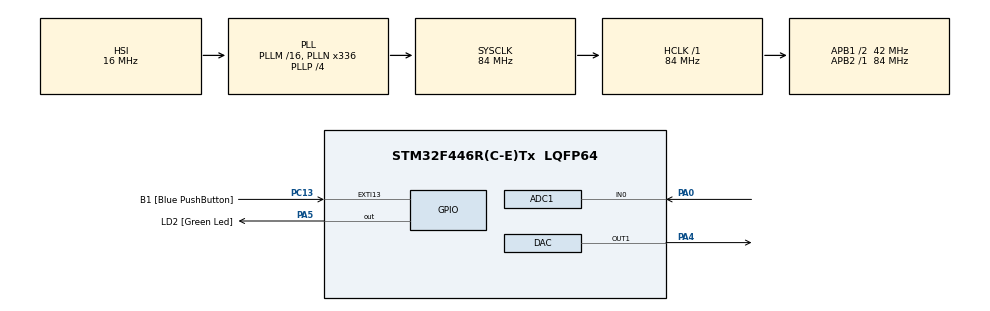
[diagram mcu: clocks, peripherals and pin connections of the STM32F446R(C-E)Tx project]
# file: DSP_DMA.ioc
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ADC1.Channel-0\#ChannelRegularConversion=ADC_CHANNEL_0
ADC1.DMAContinuousRequests=ENABLE
ADC1.ExternalTrigConv=ADC_EXTERNALTRIGCONV_T2_TRGO
ADC1.NbrOfConversion=1
ADC1.NbrOfConversionFlag=1
ADC1.Rank-0\#ChannelRegularConversion=1
ADC1.SamplingTime-0\#ChannelRegularConversion=ADC_SAMPLETIME_3CYCLES
ADC1.master=1
DAC.DAC_Trigger=DAC_TRIGGER_T2_TRGO
Dma.ADC1.0.Direction=DMA_PERIPH_TO_MEMORY
Dma.ADC1.0.FIFOMode=DMA_FIFOMODE_DISABLE
Dma.ADC1.0.Instance=DMA2_Stream0
Dma.ADC1.0.MemDataAlignment=DMA_MDATAALIGN_HALFWORD
Dma.ADC1.0.MemInc=DMA_MINC_ENABLE
Dma.ADC1.0.Mode=DMA_CIRCULAR
Dma.ADC1.0.PeriphDataAlignment=DMA_PDATAALIGN_HALFWORD
Dma.ADC1.0.PeriphInc=DMA_PINC_DISABLE
Dma.ADC1.0.Priority=DMA_PRIORITY_VERY_HIGH
Dma.DAC1.1.Direction=DMA_MEMORY_TO_PERIPH
Dma.DAC1.1.FIFOMode=DMA_FIFOMODE_DISABLE
Dma.DAC1.1.Instance=DMA1_Stream5
Dma.DAC1.1.MemDataAlignment=DMA_MDATAALIGN_WORD
Dma.DAC1.1.MemInc=DMA_MINC_ENABLE
Dma.DAC1.1.Mode=DMA_CIRCULAR
Dma.DAC1.1.PeriphDataAlignment=DMA_PDATAALIGN_WORD
Dma.DAC1.1.PeriphInc=DMA_PINC_DISABLE
Dma.DAC1.1.Priority=DMA_PRIORITY_VERY_HIGH
Dma.Request0=ADC1
Dma.Request1=DAC1
Mcu.Family=STM32F4
Mcu.Name=STM32F446R(C-E)Tx
Mcu.Package=LQFP64
NVIC.ADC_IRQn=true\:0\:0\:false\:false\:true\:true\:true\:true
NVIC.DMA1_Stream5_IRQn=true\:0\:0\:false\:false\:true\:false\:true\:true
NVIC.DMA2_Stream0_IRQn=true\:0\:0\:false\:false\:true\:false\:true\:true
NVIC.PriorityGroup=NVIC_PRIORITYGROUP_0
PA0-WKUP.Signal=ADCx_IN0
PA13.GPIO_Label=TMS
PA13.Signal=SYS_JTMS-SWDIO
PA14.GPIO_Label=TCK
PA14.Signal=SYS_JTCK-SWCLK
PA2.GPIO_Label=USART_TX
PA2.Signal=USART2_TX
PA3.GPIO_Label=USART_RX
PA3.Signal=USART2_RX
PA4.Signal=COMP_DAC1_group
PA5.GPIO_Label=LD2 [Green Led]
PA5.Signal=GPIO_Output
PB3.GPIO_Label=SWO
PB3.Signal=SYS_JTDO-SWO
PC13.GPIO_Label=B1 [Blue PushButton]
PC13.GPIO_ModeDefaultEXTI=GPIO_MODE_IT_FALLING
PC13.Signal=GPXTI13
PC14-OSC32_IN.Signal=RCC_OSC32_IN
PC15-OSC32_OUT.Signal=RCC_OSC32_OUT
PH0-OSC_IN.Signal=RCC_OSC_IN
PH1-OSC_OUT.Signal=RCC_OSC_OUT
ProjectManager.HeapSize=0x200
ProjectManager.StackSize=0x400
ProjectManager.TargetToolchain=STM32CubeIDE
RCC.AHBFreq_Value=84000000
RCC.APB1CLKDivider=RCC_HCLK_DIV2
RCC.APB1Freq_Value=42000000
RCC.APB1TimFreq_Value=84000000
RCC.APB2Freq_Value=84000000
RCC.APB2TimFreq_Value=84000000
RCC.CortexFreq_Value=84000000
RCC.FLatency-AdvancedSettings=FLASH_LATENCY_2
RCC.HCLKFreq_Value=84000000
RCC.HSE_VALUE=8000000
RCC.HSI_VALUE=16000000
RCC.LSE_VALUE=32768
RCC.PLLN=336
RCC.PLLP=RCC_PLLP_DIV4
RCC.SYSCLKFreq_VALUE=84000000
RCC.SYSCLKSource=RCC_SYSCLKSOURCE_PLLCLK
RCC.USBFreq_Value=168000000
RCC.VCOOutputFreq_Value=336000000
SH.ADCx_IN0.0=ADC1_IN0,IN0
SH.COMP_DAC1_group.0=DAC_OUT1,DAC_OUT1
TIM2.Period=1665
TIM2.Prescaler=0
TIM2.TIM_MasterOutputTrigger=TIM_TRGO_UPDATE
VP_TIM2_VS_ClockSourceINT.Mode=Internal
board=NUCLEO-F446RE

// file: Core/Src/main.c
/* USER CODE BEGIN Header */
/**
  ******************************************************************************
  * @file           : main.c
  * @brief          : Main program body
  ******************************************************************************
  * @attention
  *
  * Copyright (c) 2024 STMicroelectronics.
  * All rights reserved.
  *
  * This software is licensed under terms that can be found in the LICENSE file
  * in the root directory of this software component.
  * If no LICENSE file comes with this software, it is provided AS-IS.
  *
  ******************************************************************************
  */
/* USER CODE END Header */
#include "main.h"

/* USER CODE BEGIN Includes */
#include <stdbool.h>
/* USER CODE END Includes */

/* USER CODE BEGIN PD */
#define BUFFER_SIZE (512)
/* USER CODE END PD */

ADC_HandleTypeDef hadc1;
DMA_HandleTypeDef hdma_adc1;

DAC_HandleTypeDef hdac;
DMA_HandleTypeDef hdma_dac1;

TIM_HandleTypeDef htim2;

/* USER CODE BEGIN PV */
volatile uint16_t adc_buffer[BUFFER_SIZE];
volatile uint16_t adc_buffer_pointer = 0;

volatile uint32_t dac_buffer[BUFFER_SIZE];
volatile uint16_t dac_buffer_pointer = 0;

volatile bool data_ready = false;
/* USER CODE END PV */

void SystemClock_Config(void);
static void MX_GPIO_Init(void);
static void MX_DMA_Init(void);
static void MX_ADC1_Init(void);
static void MX_TIM2_Init(void);
static void MX_DAC_Init(void);

/* USER CODE BEGIN 0 */
void HAL_ADC_ConvHalfCpltCallback(ADC_HandleTypeDef *hadc) {
	adc_buffer_pointer = 0;
	dac_buffer_pointer = 0;
	data_ready = true;
}

void HAL_ADC_ConvCpltCallback(ADC_HandleTypeDef *hadc) {
	adc_buffer_pointer = BUFFER_SIZE / 2;
	dac_buffer_pointer = BUFFER_SIZE / 2;

	data_ready = true;
}

void apply_effect() {
	float input;
	float output;

	for (int idx_datapoint = 0; idx_datapoint < BUFFER_SIZE / 2; idx_datapoint++) {
		// convert adc data to float
		input = ((float) 2 / 4096) * adc_buffer[adc_buffer_pointer + idx_datapoint] - 1;

		// process adc data
		output = input / 2;
		output = input * 2;
		if (output > .2) {
			output = .2;
		} else if (output < -.2) {
			output = -.2;
		}

		// convert data back to unsigned int
		// set dac buffer to filtered adc data
		dac_buffer[dac_buffer_pointer + idx_datapoint] = (2048 * (output + 1));
	}

	data_ready = false;
}

/* USER CODE END 0 */

int main(void)
{

  /* MCU Configuration--------------------------------------------------------*/

  /* Reset of all peripherals, Initializes the Flash interface and the Systick. */
  HAL_Init();

  /* Configure the system clock */
  SystemClock_Config();

  /* Initialize all configured peripherals */
  MX_GPIO_Init();
  MX_DMA_Init();
  MX_ADC1_Init();
  MX_TIM2_Init();
  MX_DAC_Init();
  /* USER CODE BEGIN 2 */
  HAL_ADC_Start_DMA(&hadc1, (uint32_t *) adc_buffer, BUFFER_SIZE);
  HAL_DAC_Start_DMA(&hdac, DAC_CHANNEL_1, (uint32_t *) dac_buffer, BUFFER_SIZE, DAC_ALIGN_12B_R);
  //HAL_DAC_SetValue(&hdac, DAC_CHANNEL_1, DAC_ALIGN_12B_R, 1000);

  HAL_TIM_Base_Start(&htim2);
  /* USER CODE END 2 */

  /* Infinite loop */
  while (1)
  {

    /* USER CODE BEGIN 3 */
 	  if (data_ready) {
		  apply_effect();
	  }
  }
  /* USER CODE END 3 */
}

void SystemClock_Config(void)
{
  RCC_OscInitTypeDef RCC_OscInitStruct = {0};
  RCC_ClkInitTypeDef RCC_ClkInitStruct = {0};

  /** Configure the main internal regulator output voltage
  */
  __HAL_RCC_PWR_CLK_ENABLE();
  __HAL_PWR_VOLTAGESCALING_CONFIG(PWR_REGULATOR_VOLTAGE_SCALE3);

  /** Initializes the RCC Oscillators according to the specified parameters
  * in the RCC_OscInitTypeDef structure.
  */
  RCC_OscInitStruct.OscillatorType = RCC_OSCILLATORTYPE_HSI;
  RCC_OscInitStruct.HSIState = RCC_HSI_ON;
  RCC_OscInitStruct.HSICalibrationValue = RCC_HSICALIBRATION_DEFAULT;
  RCC_OscInitStruct.PLL.PLLState = RCC_PLL_ON;
  RCC_OscInitStruct.PLL.PLLSource = RCC_PLLSOURCE_HSI;
  RCC_OscInitStruct.PLL.PLLM = 16;
  RCC_OscInitStruct.PLL.PLLN = 336;
  RCC_OscInitStruct.PLL.PLLP = RCC_PLLP_DIV4;
  RCC_OscInitStruct.PLL.PLLQ = 2;
  RCC_OscInitStruct.PLL.PLLR = 2;
  if (HAL_RCC_OscConfig(&RCC_OscInitStruct) != HAL_OK)
  {
    Error_Handler();
  }

  /** Initializes the CPU, AHB and APB buses clocks
  */
  RCC_ClkInitStruct.ClockType = RCC_CLOCKTYPE_HCLK|RCC_CLOCKTYPE_SYSCLK
                              |RCC_CLOCKTYPE_PCLK1|RCC_CLOCKTYPE_PCLK2;
  RCC_ClkInitStruct.SYSCLKSource = RCC_SYSCLKSOURCE_PLLCLK;
  RCC_ClkInitStruct.AHBCLKDivider = RCC_SYSCLK_DIV1;
  RCC_ClkInitStruct.APB1CLKDivider = RCC_HCLK_DIV2;
  RCC_ClkInitStruct.APB2CLKDivider = RCC_HCLK_DIV1;

  if (HAL_RCC_ClockConfig(&RCC_ClkInitStruct, FLASH_LATENCY_2) != HAL_OK)
  {
    Error_Handler();
  }
}

static void MX_ADC1_Init(void)
{

  ADC_ChannelConfTypeDef sConfig = {0};

  /** Configure the global features of the ADC (Clock, Resolution, Data Alignment and number of conversion)
  */
  hadc1.Instance = ADC1;
  hadc1.Init.ClockPrescaler = ADC_CLOCK_SYNC_PCLK_DIV4;
  hadc1.Init.Resolution = ADC_RESOLUTION_12B;
  hadc1.Init.ScanConvMode = DISABLE;
  hadc1.Init.ContinuousConvMode = DISABLE;
  hadc1.Init.DiscontinuousConvMode = DISABLE;
  hadc1.Init.ExternalTrigConvEdge = ADC_EXTERNALTRIGCONVEDGE_RISING;
  hadc1.Init.ExternalTrigConv = ADC_EXTERNALTRIGCONV_T2_TRGO;
  hadc1.Init.DataAlign = ADC_DATAALIGN_RIGHT;
  hadc1.Init.NbrOfConversion = 1;
  hadc1.Init.DMAContinuousRequests = ENABLE;
  hadc1.Init.EOCSelection = ADC_EOC_SINGLE_CONV;
  if (HAL_ADC_Init(&hadc1) != HAL_OK)
  {
    Error_Handler();
  }

  /** Configure for the selected ADC regular channel its corresponding rank in the sequencer and its sample time.
  */
  sConfig.Channel = ADC_CHANNEL_0;
  sConfig.Rank = 1;
  sConfig.SamplingTime = ADC_SAMPLETIME_3CYCLES;
  if (HAL_ADC_ConfigChannel(&hadc1, &sConfig) != HAL_OK)
  {
    Error_Handler();
  }

}

static void MX_DAC_Init(void)
{

  DAC_ChannelConfTypeDef sConfig = {0};

  /** DAC Initialization
  */
  hdac.Instance = DAC;
  if (HAL_DAC_Init(&hdac) != HAL_OK)
  {
    Error_Handler();
  }

  /** DAC channel OUT1 config
  */
  sConfig.DAC_Trigger = DAC_TRIGGER_T2_TRGO;
  sConfig.DAC_OutputBuffer = DAC_OUTPUTBUFFER_ENABLE;
  if (HAL_DAC_ConfigChannel(&hdac, &sConfig, DAC_CHANNEL_1) != HAL_OK)
  {
    Error_Handler();
  }

}

static void MX_TIM2_Init(void)
{

  TIM_ClockConfigTypeDef sClockSourceConfig = {0};
  TIM_MasterConfigTypeDef sMasterConfig = {0};

  htim2.Instance = TIM2;
  htim2.Init.Prescaler = 0;
  htim2.Init.CounterMode = TIM_COUNTERMODE_UP;
  htim2.Init.Period = 1665;
  htim2.Init.ClockDivision = TIM_CLOCKDIVISION_DIV1;
  htim2.Init.AutoReloadPreload = TIM_AUTORELOAD_PRELOAD_DISABLE;
  if (HAL_TIM_Base_Init(&htim2) != HAL_OK)
  {
    Error_Handler();
  }
  sClockSourceConfig.ClockSource = TIM_CLOCKSOURCE_INTERNAL;
  if (HAL_TIM_ConfigClockSource(&htim2, &sClockSourceConfig) != HAL_OK)
  {
    Error_Handler();
  }
  sMasterConfig.MasterOutputTrigger = TIM_TRGO_UPDATE;
  sMasterConfig.MasterSlaveMode = TIM_MASTERSLAVEMODE_DISABLE;
  if (HAL_TIMEx_MasterConfigSynchronization(&htim2, &sMasterConfig) != HAL_OK)
  {
    Error_Handler();
  }

}

static void MX_DMA_Init(void)
{

  /* DMA controller clock enable */
  __HAL_RCC_DMA2_CLK_ENABLE();
  __HAL_RCC_DMA1_CLK_ENABLE();

  /* DMA interrupt init */
  /* DMA1_Stream5_IRQn interrupt configuration */
  HAL_NVIC_SetPriority(DMA1_Stream5_IRQn, 0, 0);
  HAL_NVIC_EnableIRQ(DMA1_Stream5_IRQn);
  /* DMA2_Stream0_IRQn interrupt configuration */
  HAL_NVIC_SetPriority(DMA2_Stream0_IRQn, 0, 0);
  HAL_NVIC_EnableIRQ(DMA2_Stream0_IRQn);

}

static void MX_GPIO_Init(void)
{
  GPIO_InitTypeDef GPIO_InitStruct = {0};

  /* GPIO Ports Clock Enable */
  __HAL_RCC_GPIOC_CLK_ENABLE();
  __HAL_RCC_GPIOH_CLK_ENABLE();
  __HAL_RCC_GPIOA_CLK_ENABLE();
  __HAL_RCC_GPIOB_CLK_ENABLE();

  /*Configure GPIO pin Output Level */
  HAL_GPIO_WritePin(LD2_GPIO_Port, LD2_Pin, GPIO_PIN_RESET);

  /*Configure GPIO pin : B1_Pin */
  GPIO_InitStruct.Pin = B1_Pin;
  GPIO_InitStruct.Mode = GPIO_MODE_IT_FALLING;
  GPIO_InitStruct.Pull = GPIO_NOPULL;
  HAL_GPIO_Init(B1_GPIO_Port, &GPIO_InitStruct);

  /*Configure GPIO pins : USART_TX_Pin USART_RX_Pin */
  GPIO_InitStruct.Pin = USART_TX_Pin|USART_RX_Pin;
  GPIO_InitStruct.Mode = GPIO_MODE_AF_PP;
  GPIO_InitStruct.Pull = GPIO_NOPULL;
  GPIO_InitStruct.Speed = GPIO_SPEED_FREQ_VERY_HIGH;
  GPIO_InitStruct.Alternate = GPIO_AF7_USART2;
  HAL_GPIO_Init(GPIOA, &GPIO_InitStruct);

  /*Configure GPIO pin : LD2_Pin */
  GPIO_InitStruct.Pin = LD2_Pin;
  GPIO_InitStruct.Mode = GPIO_MODE_OUTPUT_PP;
  GPIO_InitStruct.Pull = GPIO_NOPULL;
  GPIO_InitStruct.Speed = GPIO_SPEED_FREQ_LOW;
  HAL_GPIO_Init(LD2_GPIO_Port, &GPIO_InitStruct);

}

void Error_Handler(void)
{
  __disable_irq();
  while (1)
  {
  }
}
